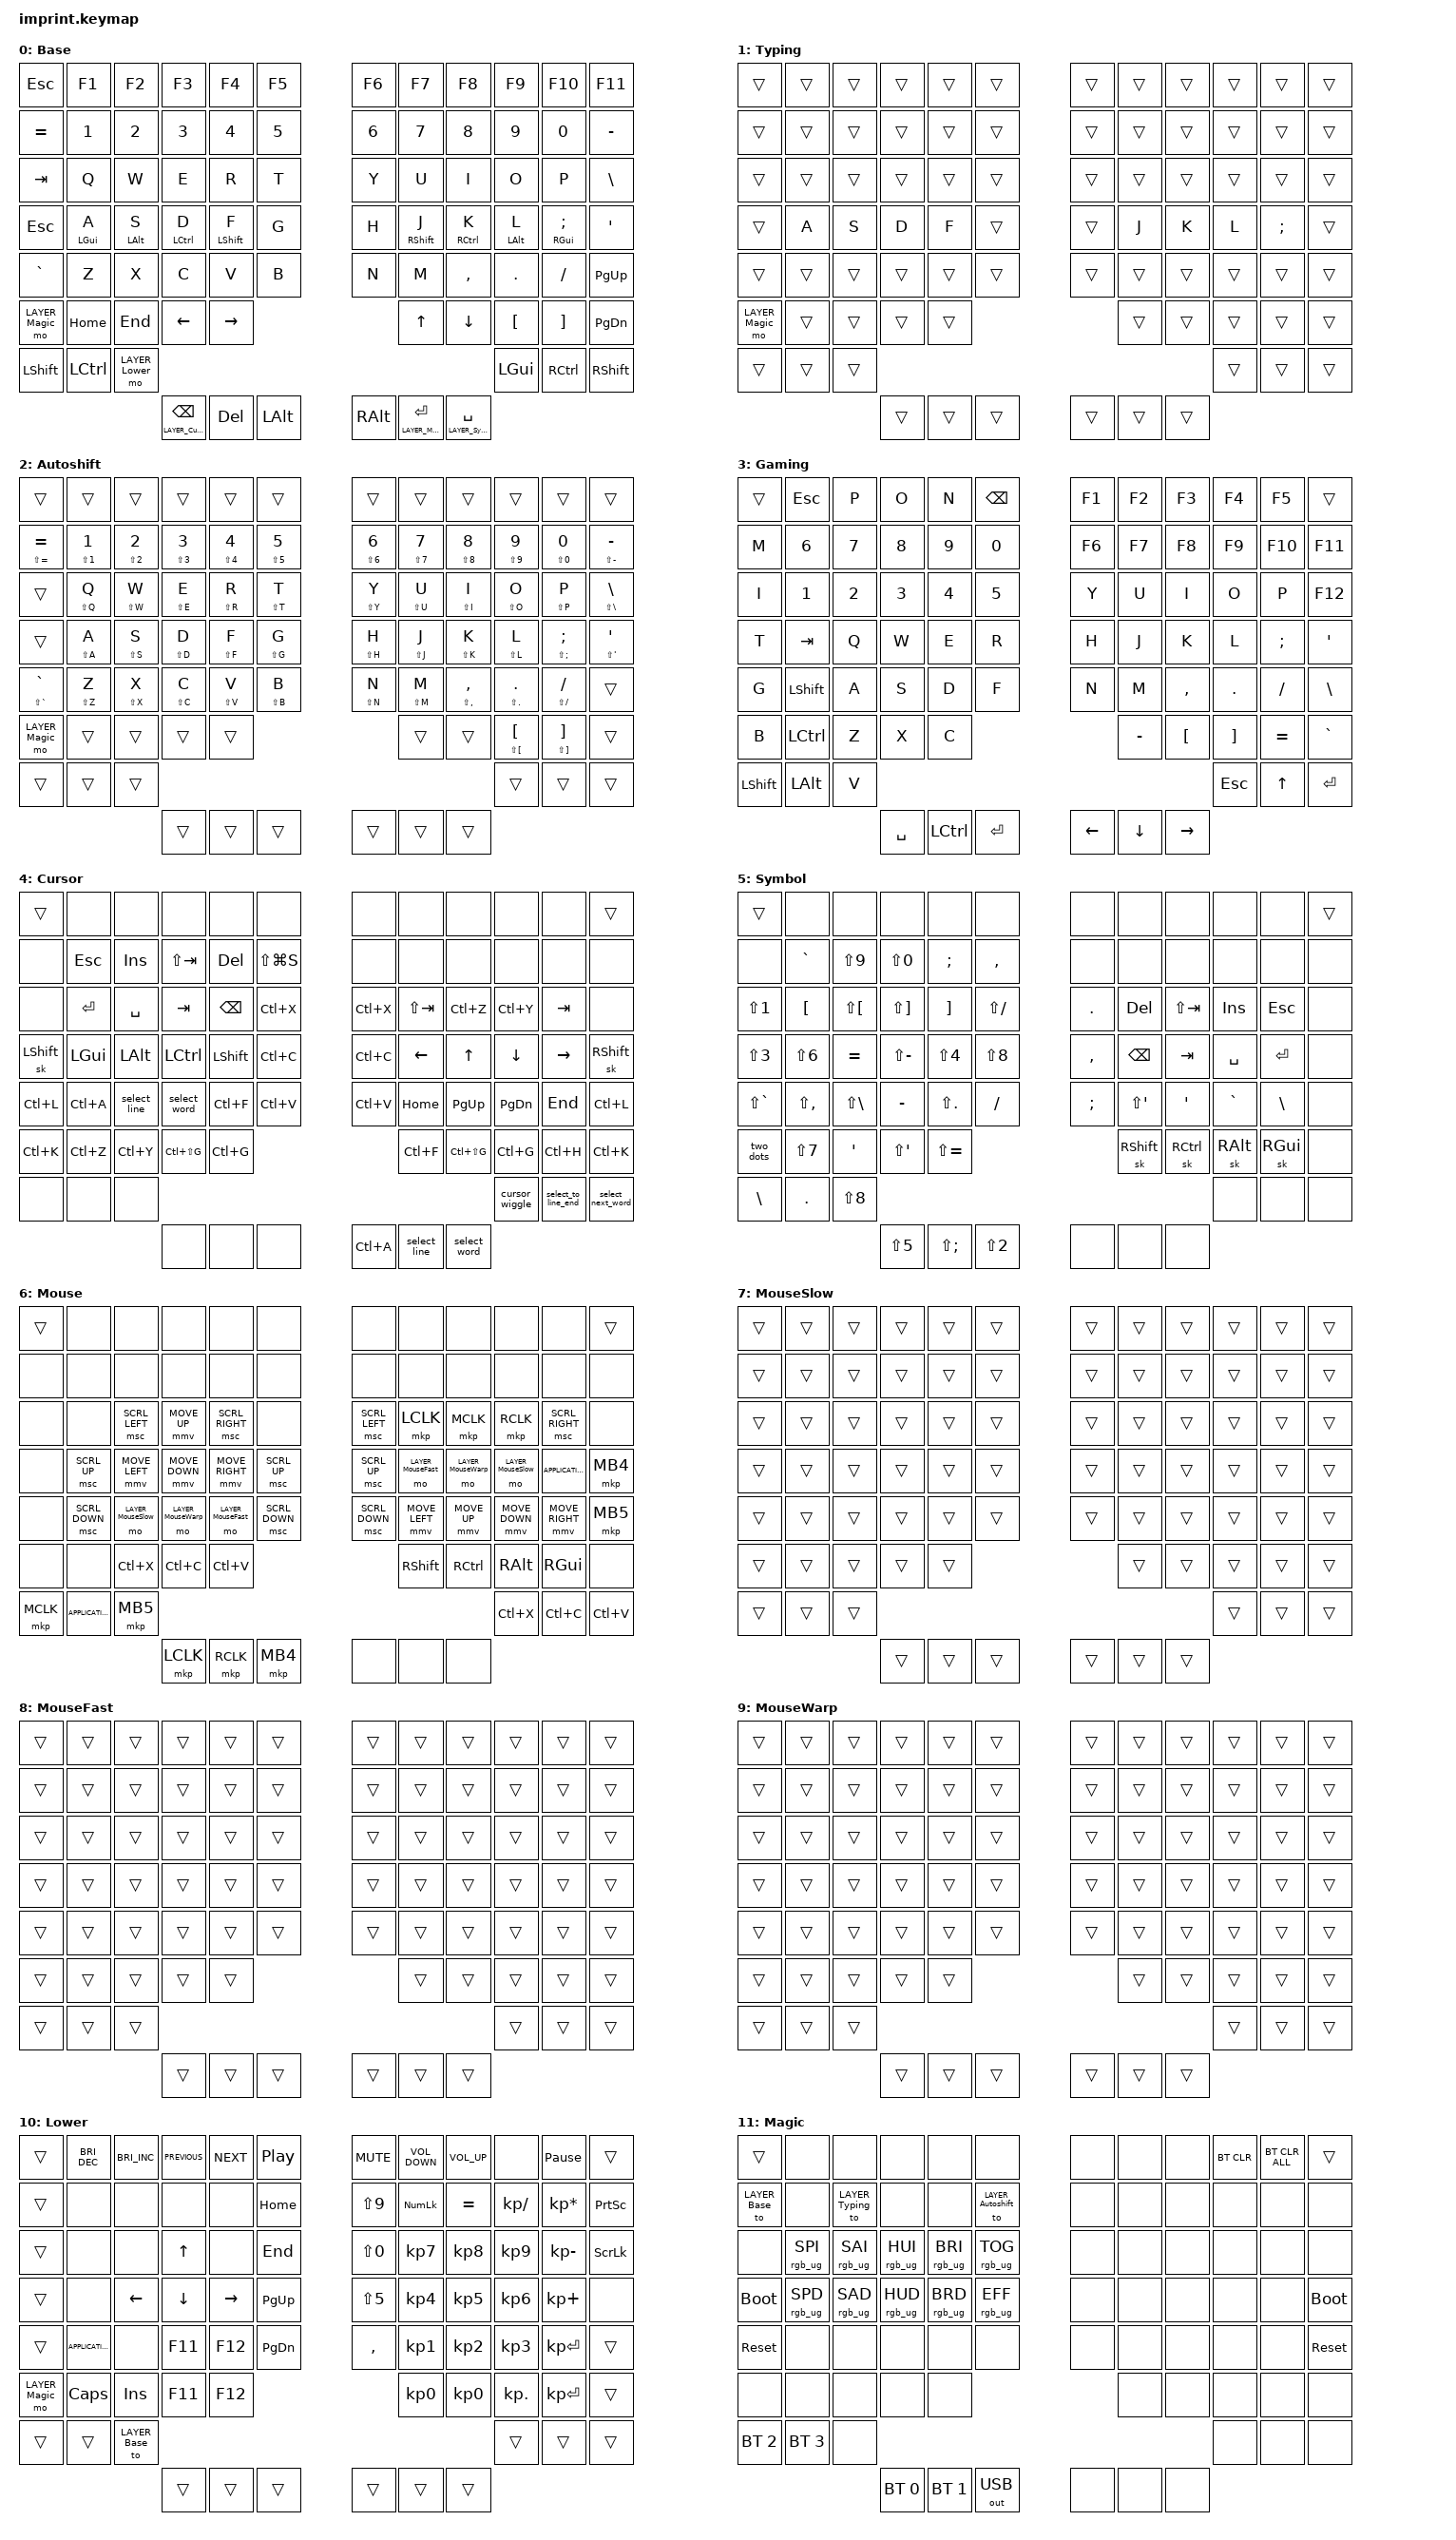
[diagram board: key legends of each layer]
/* Generated by Keyboard Curator. Change the board or the layout there, not this file. */

#include <behaviors.dtsi>
#include <dt-bindings/zmk/keys.h>
#include <dt-bindings/zmk/bt.h>
#include <dt-bindings/zmk/outputs.h>
#include <dt-bindings/zmk/rgb.h>
#include <dt-bindings/zmk/ext_power.h>
#include <dt-bindings/zmk/pointing.h>
#include <input/processors.dtsi>
#include <dt-bindings/zmk/input_transform.h>

#define LAYER_Base 0
#define LAYER_Typing 1
#define LAYER_Autoshift 2
#define LAYER_Gaming 3
#define LAYER_Cursor 4
#define LAYER_Symbol 5
#define LAYER_Mouse 6
#define LAYER_MouseSlow 7
#define LAYER_MouseFast 8
#define LAYER_MouseWarp 9
#define LAYER_Lower 10
#define LAYER_Magic 11

/ {
    chosen {
        zmk,physical-layout = &physical_layout_imprint_function_row_full_bottom_row;
    };

    underglow-layer {
        compatible = "zmk,underglow-layer";

        lighting_0_Base {
            layer-id = <LAYER_Base>;
            fade-delay = <15>;
            bindings = <
                &ug 0x000000  &ug 0x000000  &ug 0x000000  &ug_cl 0x000000 0xFF0000  &ug_nl 0x000000 0xFF0000  &ug_sl 0x000000 0xFF0000                                                          &ug 0x000000  &ug 0x000000  &ug 0x000000  &ug 0x000000  &ug 0x000000  &ug 0x000000
                &ug 0x000000  &ug 0x000000  &ug 0x000000  &ug 0x000000              &ug 0x000000              &ug 0x000000                                                                      &ug 0x000000  &ug 0x000000  &ug 0x000000  &ug 0x000000  &ug 0x000000  &ug 0x000000
                &ug 0x000000  &ug 0x000000  &ug 0x000000  &ug 0x000000              &ug 0x000000              &ug 0x000000                                                                      &ug 0x000000  &ug 0x000000  &ug 0x000000  &ug 0x000000  &ug 0x000000  &ug 0x000000
                &ug 0x000000  &ug 0xFF00FF  &ug 0x00FFFF  &ug 0x80FF00              &ug 0xFFFF00              &ug 0x000000                                                                      &ug 0x000000  &ug 0xFFFF00  &ug 0x80FF00  &ug 0x00FFFF  &ug 0xFF00FF  &ug 0x000000
                &ug 0x000000  &ug 0x000000  &ug 0x000000  &ug 0x000000              &ug 0x000000              &ug 0x000000                                                                      &ug 0x000000  &ug 0x000000  &ug 0x000000  &ug 0x000000  &ug 0x000000  &ug 0x000000
                &ug 0x000000  &ug 0x000000  &ug 0x000000  &ug 0x000000              &ug 0x000000                                                                                                              &ug 0x000000  &ug 0x000000  &ug 0x000000  &ug 0x000000  &ug 0x000000
                                                                                                                                        &ug 0x000000  &ug 0x000000  &ug 0x000000  &ug 0x000000  &ug 0x000000  &ug 0x000000
                                                                                                                                        &ug 0x000000  &ug 0x000000  &ug 0x000000  &ug 0x000000  &ug 0x000000  &ug 0x000000
            >;
        };

        lighting_10_Lower {
            layer-id = <LAYER_Lower>;
            fade-delay = <15>;
            bindings = <
                &ug 0x000000  &ug 0xFF00FF  &ug 0xFF00FF  &ug 0x0000FF  &ug 0x0000FF  &ug 0x0000FF                                                          &ug 0x0000FF  &ug 0x0000FF  &ug 0x0000FF  &ug 0x000000  &ug 0xFF8000  &ug 0x000000
                &ug 0x000000  &ug 0x000000  &ug 0x000000  &ug 0x000000  &ug 0x000000  &ug 0x00FF00                                                          &ug 0xFFFFFF  &ug 0xFF8000  &ug 0xFFFFFF  &ug 0xFFFFFF  &ug 0xFFFFFF  &ug 0xFF8000
                &ug 0x000000  &ug 0x000000  &ug 0x000000  &ug 0x00FF00  &ug 0x000000  &ug 0x00FF00                                                          &ug 0xFFFFFF  &ug 0xFFFFFF  &ug 0xFFFFFF  &ug 0xFFFFFF  &ug 0xFFFFFF  &ug 0xFF8000
                &ug 0x000000  &ug 0x000000  &ug 0x00FF00  &ug 0x00FF00  &ug 0x00FF00  &ug 0x00FF00                                                          &ug 0xFFFFFF  &ug 0xFFFFFF  &ug 0xFFFFFF  &ug 0xFFFFFF  &ug 0xFFFFFF  &ug 0x000000
                &ug 0x000000  &ug 0xFF8000  &ug 0x000000  &ug 0xFFFFFF  &ug 0xFFFFFF  &ug 0x00FF00                                                          &ug 0xFFFFFF  &ug 0xFFFFFF  &ug 0xFFFFFF  &ug 0xFFFFFF  &ug 0xFFFFFF  &ug 0x000000
                &ug 0x000000  &ug 0xFF8000  &ug 0xFF8000  &ug 0xFFFFFF  &ug 0xFFFFFF                                                                                      &ug 0xFFFFFF  &ug 0xFFFFFF  &ug 0xFFFFFF  &ug 0xFFFFFF  &ug 0x000000
                                                                                                    &ug 0x000000  &ug 0x000000  &ug 0x000000  &ug 0x000000  &ug 0x000000  &ug 0x000000
                                                                                                    &ug 0x000000  &ug 0x000000  &ug 0x000000  &ug 0x000000  &ug 0x000000  &ug 0x000000
            >;
        };

        lighting_2_Autoshift {
            layer-id = <LAYER_Autoshift>;
            fade-delay = <5>;
            bindings = <
                &ug 0x000000  &ug 0x000000  &ug 0x000000  &ug 0x000000  &ug 0x000000  &ug 0x000000                                                          &ug 0x000000  &ug 0x000000  &ug 0x000000  &ug 0x000000  &ug 0x000000  &ug 0x000000
                &ug 0xFFFF00  &ug 0xFFFF00  &ug 0xFFFF00  &ug 0xFFFF00  &ug 0xFFFF00  &ug 0xFFFF00                                                          &ug 0xFFFF00  &ug 0xFFFF00  &ug 0xFFFF00  &ug 0xFFFF00  &ug 0xFFFF00  &ug 0xFFFF00
                &ug 0x000000  &ug 0xFFFF00  &ug 0xFFFF00  &ug 0xFFFF00  &ug 0xFFFF00  &ug 0xFFFF00                                                          &ug 0xFFFF00  &ug 0xFFFF00  &ug 0xFFFF00  &ug 0xFFFF00  &ug 0xFFFF00  &ug 0xFFFF00
                &ug 0x000000  &ug 0xFFFF00  &ug 0xFFFF00  &ug 0xFFFF00  &ug 0xFFFF00  &ug 0xFFFF00                                                          &ug 0xFFFF00  &ug 0xFFFF00  &ug 0xFFFF00  &ug 0xFFFF00  &ug 0xFFFF00  &ug 0x000000
                &ug 0xFFFF00  &ug 0xFFFF00  &ug 0xFFFF00  &ug 0xFFFF00  &ug 0xFFFF00  &ug 0xFFFF00                                                          &ug 0xFFFF00  &ug 0xFFFF00  &ug 0xFFFF00  &ug 0xFFFF00  &ug 0xFFFF00  &ug 0x000000
                &ug 0x000000  &ug 0x000000  &ug 0x000000  &ug 0x000000  &ug 0x000000                                                                                      &ug 0xFFFF00  &ug 0xFFFF00  &ug 0x000000  &ug 0x000000  &ug 0x000000
                                                                                                    &ug 0xFFFF00  &ug 0x00FF00  &ug 0x000000  &ug 0xFF00FF  &ug 0x00FF00  &ug 0xFFFF00
                                                                                                    &ug 0x000000  &ug 0x000000  &ug 0x00FFFF  &ug 0x00FFFF  &ug 0x000000  &ug 0x000000
            >;
        };

        lighting_4_Cursor {
            layer-id = <LAYER_Cursor>;
            fade-delay = <5>;
            bindings = <
                &ug 0x000000  &ug 0x000000  &ug 0x000000  &ug 0x000000  &ug 0x000000  &ug 0x000000                                                          &ug 0x000000  &ug 0x000000  &ug 0x000000  &ug 0x000000  &ug 0x000000  &ug 0x000000
                &ug 0x000000  &ug 0xFF8000  &ug 0xFF8000  &ug 0xFF8000  &ug 0xFF8000  &ug 0x000000                                                          &ug 0x000000  &ug 0x000000  &ug 0x000000  &ug 0x000000  &ug 0x000000  &ug 0x000000
                &ug 0x000000  &ug 0xFF8000  &ug 0xFF8000  &ug 0xFF8000  &ug 0xFF8000  &ug 0xFFFF00                                                          &ug 0xFFFF00  &ug 0xFF8000  &ug 0xFF80BF  &ug 0xFF80BF  &ug 0xFF8000  &ug 0x000000
                &ug 0xFFFFFF  &ug 0xFFFFFF  &ug 0xFFFFFF  &ug 0xFFFFFF  &ug 0xFFFFFF  &ug 0xFFFF00                                                          &ug 0xFFFF00  &ug 0x00FF00  &ug 0x00FF00  &ug 0x00FF00  &ug 0x00FF00  &ug 0xFFFFFF
                &ug 0xFF00FF  &ug 0x00FFFF  &ug 0x00FFFF  &ug 0x00FFFF  &ug 0xFF00FF  &ug 0xFFFF00                                                          &ug 0xFFFF00  &ug 0x00FF00  &ug 0x00FF00  &ug 0x00FF00  &ug 0x00FF00  &ug 0xFF00FF
                &ug 0x000000  &ug 0x000000  &ug 0x000000  &ug 0xFF00FF  &ug 0xFF00FF                                                                                      &ug 0xFF00FF  &ug 0xFF00FF  &ug 0xFF00FF  &ug 0xFF00FF  &ug 0x000000
                                                                                                    &ug 0x000000  &ug 0x000000  &ug 0x000000  &ug 0x00FFFF  &ug 0x00FFFF  &ug 0x00FFFF
                                                                                                    &ug 0x000000  &ug 0x00FF68  &ug 0x000000  &ug 0x00FFFF  &ug 0x00FFFF  &ug 0x00FFFF
            >;
        };

        lighting_5_Symbol {
            layer-id = <LAYER_Symbol>;
            fade-delay = <5>;
            bindings = <
                &ug 0x000000  &ug 0x000000  &ug 0x000000  &ug 0x000000  &ug 0x000000  &ug 0x000000                                                          &ug 0x000000  &ug 0x000000  &ug 0x000000  &ug 0x000000  &ug 0x000000  &ug 0x000000
                &ug 0xFF00FF  &ug 0x99F5FF  &ug 0x99F5FF  &ug 0x99F5FF  &ug 0xFFFF00  &ug 0xFFFF00                                                          &ug 0x000000  &ug 0x000000  &ug 0x000000  &ug 0x000000  &ug 0x000000  &ug 0x000000
                &ug 0x99F5FF  &ug 0xFF00FF  &ug 0x99F5FF  &ug 0x99F5FF  &ug 0xFFFF00  &ug 0xFFFF00                                                          &ug 0xFF00FF  &ug 0xFFFFFF  &ug 0xFFFFFF  &ug 0xFFFFFF  &ug 0xFFFFFF  &ug 0x000000
                &ug 0xFFFF00  &ug 0xFFFF00  &ug 0x80FF00  &ug 0xFF8000  &ug 0xFFFF00  &ug 0xFFFF00                                                          &ug 0xFF00FF  &ug 0xFF8000  &ug 0xFF8000  &ug 0xFF8000  &ug 0xFF8000  &ug 0x000000
                &ug 0xFF00FF  &ug 0x80FF00  &ug 0x80FF00  &ug 0x80FF00  &ug 0x80FF00  &ug 0xFFFF00                                                          &ug 0xFF00FF  &ug 0xFF8000  &ug 0xFF8000  &ug 0xFF8000  &ug 0xFF8000  &ug 0x000000
                &ug 0xFFFF00  &ug 0xFF8000  &ug 0xFF00FF  &ug 0xFF00FF  &ug 0xFF8000                                                                                      &ug 0x000000  &ug 0x000000  &ug 0x000000  &ug 0x000000  &ug 0x000000
                                                                                                    &ug 0xFF00FF  &ug 0xFFFF00  &ug 0xFFFF00  &ug 0x000000  &ug 0x000000  &ug 0x000000
                                                                                                    &ug 0xFFFF00  &ug 0xFFFF00  &ug 0xFFFF00  &ug 0x000000  &ug 0x00FF68  &ug 0x000000
            >;
        };

        lighting_6_Mouse {
            layer-id = <LAYER_Mouse>;
            fade-delay = <5>;
            bindings = <
                &ug 0x000000  &ug 0x000000  &ug 0x000000  &ug 0x000000  &ug 0x000000  &ug 0x000000                                                          &ug 0x000000  &ug 0x000000  &ug 0x000000  &ug 0x000000  &ug 0x000000  &ug 0x000000
                &ug 0x000000  &ug 0x000000  &ug 0x000000  &ug 0x000000  &ug 0x000000  &ug 0x000000                                                          &ug 0x000000  &ug 0x000000  &ug 0x000000  &ug 0x000000  &ug 0x000000  &ug 0x000000
                &ug 0x000000  &ug 0x000000  &ug 0x6B1FCE  &ug 0x99F5FF  &ug 0x6B1FCE  &ug 0x000000                                                          &ug 0x000000  &ug 0xFFFFFF  &ug 0xFFFFFF  &ug 0xFFFFFF  &ug 0xFFFFFF  &ug 0x000000
                &ug 0x000000  &ug 0x008080  &ug 0x99F5FF  &ug 0x99F5FF  &ug 0x99F5FF  &ug 0x000000                                                          &ug 0x000000  &ug 0xFFD900  &ug 0x80FF00  &ug 0xFF7C4D  &ug 0xFFFF00  &ug 0xFF80BF
                &ug 0x000000  &ug 0x008080  &ug 0xFF7C4D  &ug 0x80FF00  &ug 0xFFD900  &ug 0x000000                                                          &ug 0x000000  &ug 0x6B1FCE  &ug 0x99F5FF  &ug 0x6B1FCE  &ug 0xFF8000  &ug 0xFF80BF
                &ug 0x000000  &ug 0x000000  &ug 0x000000  &ug 0x000000  &ug 0x000000                                                                                      &ug 0x99F5FF  &ug 0x99F5FF  &ug 0x99F5FF  &ug 0xFF00FF  &ug 0x000000
                                                                                                    &ug 0xFF00FF  &ug 0x000000  &ug 0xFF80BF  &ug 0x000000  &ug 0x000000  &ug 0x000000
                                                                                                    &ug 0xFFFF00  &ug 0xFF8000  &ug 0xFF80BF  &ug 0x000000  &ug 0x00FF68  &ug 0x000000
            >;
        };

        lighting_8_MouseFast {
            layer-id = <LAYER_MouseFast>;
            fade-delay = <5>;
            bindings = <
                &ug 0x000000  &ug 0x000000  &ug 0x000000  &ug 0x000000  &ug 0x000000  &ug 0x000000                                                          &ug 0x000000  &ug 0x000000  &ug 0x000000  &ug 0x000000  &ug 0x000000  &ug 0x000000
                &ug 0x000000  &ug 0x000000  &ug 0x000000  &ug 0x000000  &ug 0x000000  &ug 0x000000                                                          &ug 0x000000  &ug 0xFFFF00  &ug 0x00FF00  &ug 0x00FFFF  &ug 0xFF00FF  &ug 0x000000
                &ug 0x000000  &ug 0x000000  &ug 0xFFD900  &ug 0xFFD900  &ug 0xFFD900  &ug 0x000000                                                          &ug 0x000000  &ug 0xFFD900  &ug 0xFFD900  &ug 0xFFD900  &ug 0xFFD900  &ug 0x000000
                &ug 0x000000  &ug 0xFFD900  &ug 0xFFD900  &ug 0xFFD900  &ug 0xFFD900  &ug 0x000000                                                          &ug 0x000000  &ug 0xFFD900  &ug 0x80FF00  &ug 0xFF7C4D  &ug 0x000000  &ug 0x000000
                &ug 0x000000  &ug 0xFFD900  &ug 0xFF7C4D  &ug 0x80FF00  &ug 0xFFD900  &ug 0x000000                                                          &ug 0x000000  &ug 0xFFD900  &ug 0xFFD900  &ug 0xFFD900  &ug 0xFFD900  &ug 0x000000
                &ug 0x000000  &ug 0x000000  &ug 0x000000  &ug 0x000000  &ug 0x000000                                                                                      &ug 0xFFFF00  &ug 0xFF8000  &ug 0xFF00FF  &ug 0xFF80BF  &ug 0xFF80BF
                                                                                                    &ug 0xFF00FF  &ug 0x000000  &ug 0xFF80BF  &ug 0x000000  &ug 0x000000  &ug 0x000000
                                                                                                    &ug 0xFFFF00  &ug 0xFF8000  &ug 0xFF80BF  &ug 0x000000  &ug 0x00FF68  &ug 0x000000
            >;
        };

        lighting_9_MouseWarp {
            layer-id = <LAYER_MouseWarp>;
            fade-delay = <5>;
            bindings = <
                &ug 0x000000  &ug 0x000000  &ug 0x000000  &ug 0x000000  &ug 0x000000  &ug 0x000000                                                          &ug 0x000000  &ug 0x000000  &ug 0x000000  &ug 0x000000  &ug 0x000000  &ug 0x000000
                &ug 0x000000  &ug 0x000000  &ug 0x000000  &ug 0x000000  &ug 0x000000  &ug 0x000000                                                          &ug 0x000000  &ug 0xFFFF00  &ug 0x00FF00  &ug 0x00FFFF  &ug 0xFF00FF  &ug 0x000000
                &ug 0x000000  &ug 0x000000  &ug 0x80FF00  &ug 0x80FF00  &ug 0x80FF00  &ug 0x000000                                                          &ug 0x000000  &ug 0x80FF00  &ug 0x80FF00  &ug 0x80FF00  &ug 0x80FF00  &ug 0x000000
                &ug 0x000000  &ug 0x80FF00  &ug 0x80FF00  &ug 0x80FF00  &ug 0x80FF00  &ug 0x000000                                                          &ug 0x000000  &ug 0xFFD900  &ug 0x80FF00  &ug 0xFF7C4D  &ug 0x000000  &ug 0x000000
                &ug 0x000000  &ug 0x80FF00  &ug 0xFF7C4D  &ug 0x80FF00  &ug 0xFFD900  &ug 0x000000                                                          &ug 0x000000  &ug 0x80FF00  &ug 0x80FF00  &ug 0x80FF00  &ug 0x80FF00  &ug 0x000000
                &ug 0x000000  &ug 0x000000  &ug 0x000000  &ug 0x000000  &ug 0x000000                                                                                      &ug 0xFFFF00  &ug 0xFF8000  &ug 0xFF00FF  &ug 0xFF80BF  &ug 0xFF80BF
                                                                                                    &ug 0xFF00FF  &ug 0x000000  &ug 0xFF80BF  &ug 0x000000  &ug 0x000000  &ug 0x000000
                                                                                                    &ug 0xFFFF00  &ug 0xFF8000  &ug 0xFF80BF  &ug 0x000000  &ug 0x00FF68  &ug 0x000000
            >;
        };

        lighting_7_MouseSlow {
            layer-id = <LAYER_MouseSlow>;
            fade-delay = <5>;
            bindings = <
                &ug 0x000000  &ug 0x000000  &ug 0x000000  &ug 0x000000  &ug 0x000000  &ug 0x000000                                                          &ug 0x000000  &ug 0x000000  &ug 0x000000  &ug 0x000000  &ug 0x000000  &ug 0x000000
                &ug 0x000000  &ug 0x000000  &ug 0x000000  &ug 0x000000  &ug 0x000000  &ug 0x000000                                                          &ug 0x000000  &ug 0xFFFF00  &ug 0x00FF00  &ug 0x00FFFF  &ug 0xFF00FF  &ug 0x000000
                &ug 0x000000  &ug 0x000000  &ug 0xFF7C4D  &ug 0xFF7C4D  &ug 0xFF7C4D  &ug 0x000000                                                          &ug 0x000000  &ug 0xFF7C4D  &ug 0xFF7C4D  &ug 0xFF7C4D  &ug 0xFF7C4D  &ug 0x000000
                &ug 0x000000  &ug 0xFF7C4D  &ug 0xFF7C4D  &ug 0xFF7C4D  &ug 0xFF7C4D  &ug 0x000000                                                          &ug 0x000000  &ug 0xFFD900  &ug 0x80FF00  &ug 0xFF7C4D  &ug 0x000000  &ug 0x000000
                &ug 0x000000  &ug 0xFF7C4D  &ug 0xFF7C4D  &ug 0x80FF00  &ug 0xFFD900  &ug 0x000000                                                          &ug 0x000000  &ug 0xFF7C4D  &ug 0xFF7C4D  &ug 0xFF7C4D  &ug 0xFF7C4D  &ug 0x000000
                &ug 0x000000  &ug 0x000000  &ug 0x000000  &ug 0x000000  &ug 0x000000                                                                                      &ug 0xFFFF00  &ug 0xFF8000  &ug 0xFF00FF  &ug 0xFF80BF  &ug 0xFF80BF
                                                                                                    &ug 0xFF00FF  &ug 0x000000  &ug 0xFF80BF  &ug 0x000000  &ug 0x000000  &ug 0x000000
                                                                                                    &ug 0xFFFF00  &ug 0xFF8000  &ug 0xFF80BF  &ug 0x000000  &ug 0x00FF68  &ug 0x000000
            >;
        };

        lighting_3_Gaming {
            layer-id = <LAYER_Gaming>;
            fade-delay = <15>;
            bindings = <
                &ug 0x000000  &ug 0xFF8000  &ug 0x000000  &ug 0x000000  &ug 0x000000  &ug 0x000000                                                          &ug 0x000000  &ug 0x000000  &ug 0x000000  &ug 0x000000  &ug 0x000000  &ug 0x000000
                &ug 0x000000  &ug 0x000000  &ug 0x000000  &ug 0x000000  &ug 0x000000  &ug 0x000000                                                          &ug 0x000000  &ug 0x000000  &ug 0x000000  &ug 0x000000  &ug 0x000000  &ug 0x000000
                &ug 0x000000  &ug 0x000000  &ug 0x000000  &ug 0x000000  &ug 0x000000  &ug 0x000000                                                          &ug 0x000000  &ug 0x000000  &ug 0x000000  &ug 0x000000  &ug 0x000000  &ug 0x000000
                &ug 0x000000  &ug 0x000000  &ug 0x000000  &ug 0x99F5FF  &ug 0x000000  &ug 0x000000                                                          &ug 0x000000  &ug 0x000000  &ug 0x000000  &ug 0x000000  &ug 0x000000  &ug 0x000000
                &ug 0x000000  &ug 0xFFFF00  &ug 0x99F5FF  &ug 0x99F5FF  &ug 0x99F5FF  &ug 0x000000                                                          &ug 0x000000  &ug 0x000000  &ug 0x000000  &ug 0x000000  &ug 0x000000  &ug 0x000000
                &ug 0x000000  &ug 0x00FF00  &ug 0x000000  &ug 0x000000  &ug 0x000000                                                                                      &ug 0x000000  &ug 0x000000  &ug 0x000000  &ug 0x000000  &ug 0x000000
                                                                                                    &ug 0xFFFF00  &ug 0x00FFFF  &ug 0xFF0000  &ug 0xFF8000  &ug 0x99F5FF  &ug 0x000000
                                                                                                    &ug 0x000000  &ug 0x00FF00  &ug 0xFF0000  &ug 0x99F5FF  &ug 0x99F5FF  &ug 0x99F5FF
            >;
        };
    };

    behaviors {
        // Template: hrm_pinky (left hand)
        hrm_pinky: hrm_pinky {
            compatible = "zmk,behavior-hold-tap";
            #binding-cells = <2>;
            flavor = "tap-preferred";
            tapping-term-ms = <270>;
            quick-tap-ms = <300>;
            require-prior-idle-ms = <150>;
            hold-trigger-key-positions = <6 7 8 9 10 11 18 19 20 21 22 23 30 31 32 33 34 35 42 43 44 45 46 47 54 55 56 57 58 59 65 66 67 68 69 70 71 72 73 74 75 76 77 78 79 80 81>;
            hold-trigger-on-release;
            bindings = <&kp>, <&kp>;
        };
        // Template: hrm_ring (left hand)
        hrm_ring: hrm_ring {
            compatible = "zmk,behavior-hold-tap";
            #binding-cells = <2>;
            flavor = "tap-preferred";
            tapping-term-ms = <240>;
            quick-tap-ms = <300>;
            require-prior-idle-ms = <100>;
            hold-trigger-key-positions = <6 7 8 9 10 11 18 19 20 21 22 23 30 31 32 33 34 35 42 43 44 45 46 47 54 55 56 57 58 59 65 66 67 68 69 70 71 72 73 74 75 76 77 78 79 80 81>;
            hold-trigger-on-release;
            bindings = <&kp>, <&kp>;
        };
        // Template: hrm_middle (left hand)
        hrm_middle: hrm_middle {
            compatible = "zmk,behavior-hold-tap";
            #binding-cells = <2>;
            flavor = "tap-preferred";
            tapping-term-ms = <210>;
            quick-tap-ms = <300>;
            require-prior-idle-ms = <150>;
            hold-trigger-key-positions = <6 7 8 9 10 11 18 19 20 21 22 23 30 31 32 33 34 35 42 43 44 45 46 47 54 55 56 57 58 59 65 66 67 68 69 70 71 72 73 74 75 76 77 78 79 80 81>;
            hold-trigger-on-release;
            bindings = <&kp>, <&kp>;
        };
        // Template: hrm_index (left hand)
        hrm_index: hrm_index {
            compatible = "zmk,behavior-hold-tap";
            #binding-cells = <2>;
            flavor = "tap-preferred";
            tapping-term-ms = <180>;
            quick-tap-ms = <300>;
            require-prior-idle-ms = <100>;
            hold-trigger-key-positions = <6 7 8 9 10 11 18 19 20 21 22 23 30 31 32 33 34 35 42 43 44 45 46 47 54 55 56 57 58 59 65 66 67 68 69 70 71 72 73 74 75 76 77 78 79 80 81>;
            hold-trigger-on-release;
            bindings = <&kp>, <&kp>;
        };
        // Template: thumb_layer
        thumb_layer: thumb_layer {
            compatible = "zmk,behavior-hold-tap";
            #binding-cells = <2>;
            flavor = "balanced";
            tapping-term-ms = <200>;
            quick-tap-ms = <300>;
            bindings = <&mo>, <&kp>;
        };
        // Template: thumb_space_layer
        thumb_space_layer: thumb_space_layer {
            compatible = "zmk,behavior-hold-tap";
            #binding-cells = <2>;
            flavor = "balanced";
            tapping-term-ms = <200>;
            quick-tap-ms = <150>;
            bindings = <&mo>, <&kp>;
        };
        // Template: autoshift
        autoshift: autoshift {
            compatible = "zmk,behavior-hold-tap";
            #binding-cells = <2>;
            flavor = "tap-preferred";
            tapping-term-ms = <190>;
            bindings = <&kp>, <&kp>;
        };
        // Template: hrm_pinky (right hand)
        hrm_pinky_right: hrm_pinky_right {
            compatible = "zmk,behavior-hold-tap";
            #binding-cells = <2>;
            flavor = "tap-preferred";
            tapping-term-ms = <270>;
            quick-tap-ms = <300>;
            require-prior-idle-ms = <150>;
            hold-trigger-key-positions = <0 1 2 3 4 5 12 13 14 15 16 17 24 25 26 27 28 29 36 37 38 39 40 41 48 49 50 51 52 53 60 61 62 63 64 70 71 72 73 74 75 76 77 78 79 80 81>;
            hold-trigger-on-release;
            bindings = <&kp>, <&kp>;
        };
        // Template: hrm_ring (right hand)
        hrm_ring_right: hrm_ring_right {
            compatible = "zmk,behavior-hold-tap";
            #binding-cells = <2>;
            flavor = "tap-preferred";
            tapping-term-ms = <240>;
            quick-tap-ms = <300>;
            require-prior-idle-ms = <100>;
            hold-trigger-key-positions = <0 1 2 3 4 5 12 13 14 15 16 17 24 25 26 27 28 29 36 37 38 39 40 41 48 49 50 51 52 53 60 61 62 63 64 70 71 72 73 74 75 76 77 78 79 80 81>;
            hold-trigger-on-release;
            bindings = <&kp>, <&kp>;
        };
        // Template: hrm_middle (right hand)
        hrm_middle_right: hrm_middle_right {
            compatible = "zmk,behavior-hold-tap";
            #binding-cells = <2>;
            flavor = "tap-preferred";
            tapping-term-ms = <210>;
            quick-tap-ms = <300>;
            require-prior-idle-ms = <150>;
            hold-trigger-key-positions = <0 1 2 3 4 5 12 13 14 15 16 17 24 25 26 27 28 29 36 37 38 39 40 41 48 49 50 51 52 53 60 61 62 63 64 70 71 72 73 74 75 76 77 78 79 80 81>;
            hold-trigger-on-release;
            bindings = <&kp>, <&kp>;
        };
        // Template: hrm_index (right hand)
        hrm_index_right: hrm_index_right {
            compatible = "zmk,behavior-hold-tap";
            #binding-cells = <2>;
            flavor = "tap-preferred";
            tapping-term-ms = <180>;
            quick-tap-ms = <300>;
            require-prior-idle-ms = <100>;
            hold-trigger-key-positions = <0 1 2 3 4 5 12 13 14 15 16 17 24 25 26 27 28 29 36 37 38 39 40 41 48 49 50 51 52 53 60 61 62 63 64 70 71 72 73 74 75 76 77 78 79 80 81>;
            hold-trigger-on-release;
            bindings = <&kp>, <&kp>;
        };
    };

    macros {
        // Key 75 on Cursor: Macro: Select next word
        select_next_word: select_next_word {
            compatible = "zmk,behavior-macro";
            #binding-cells = <0>;
            bindings
                = <&macro_press &kp LEFT_CONTROL>
                , <&macro_press &kp LEFT_SHIFT>
                , <&macro_tap &kp RIGHT_ARROW>
                , <&macro_release &kp LEFT_SHIFT>
                , <&macro_release &kp LEFT_CONTROL>
                ;
        };
        // Key 74 on Cursor: Macro: Select to line end
        select_to_line_end: select_to_line_end {
            compatible = "zmk,behavior-macro";
            #binding-cells = <0>;
            bindings
                = <&macro_press &kp LEFT_SHIFT>
                , <&macro_tap &kp END>
                , <&macro_release &kp LEFT_SHIFT>
                ;
        };
        // Key 73 on Cursor: Macro: Cursor wiggle
        cursor_wiggle: cursor_wiggle {
            compatible = "zmk,behavior-macro";
            #binding-cells = <0>;
            bindings
                = <&macro_tap &kp DOWN_ARROW>
                , <&macro_tap &kp UP_ARROW>
                , <&macro_tap &kp RIGHT_ARROW>
                , <&macro_tap &kp LEFT_ARROW>
                ;
        };
        // Template: Select word
        select_word: select_word {
            compatible = "zmk,behavior-macro";
            #binding-cells = <0>;
            bindings
                = <&macro_press &kp LEFT_CONTROL>
                , <&macro_tap &kp LEFT_ARROW>
                , <&macro_release &kp LEFT_CONTROL>
                , <&macro_press &kp LEFT_CONTROL>
                , <&macro_press &kp LEFT_SHIFT>
                , <&macro_tap &kp RIGHT_ARROW>
                , <&macro_release &kp LEFT_SHIFT>
                , <&macro_release &kp LEFT_CONTROL>
                ;
        };
        // Template: Select line
        select_line: select_line {
            compatible = "zmk,behavior-macro";
            #binding-cells = <0>;
            bindings
                = <&macro_tap &kp HOME>
                , <&macro_press &kp LEFT_SHIFT>
                , <&macro_tap &kp END>
                , <&macro_release &kp LEFT_SHIFT>
                ;
        };
        // Key 60 on Symbol: Macro: Two dots
        two_dots: two_dots {
            compatible = "zmk,behavior-macro";
            #binding-cells = <0>;
            bindings
                = <&macro_tap &kp PERIOD>
                , <&macro_tap &kp PERIOD>
                ;
        };
    };

    combos {
        compatible = "zmk,combos";
        combo_f11_base_26 {
            key-positions = <9 22>;
            bindings = <&kp F11>;
            layers = <LAYER_Base>;
        };
        combo_f11_autoshift_27 {
            key-positions = <1 22>;
            bindings = <&kp F11>;
            layers = <LAYER_Autoshift>;
        };
        combo_f12_base_28 {
            key-positions = <10 23>;
            bindings = <&kp F12>;
            layers = <LAYER_Base>;
        };
        combo_f12_autoshift_29 {
            key-positions = <1 23>;
            bindings = <&kp F12>;
            layers = <LAYER_Autoshift>;
        };
        combo_toggle_gaming_base_30 {
            key-positions = <53 64>;
            bindings = <&tog LAYER_Gaming>;
            layers = <LAYER_Base>;
        };
        combo_toggle_gaming_gaming_31 {
            key-positions = <53 64>;
            bindings = <&tog LAYER_Gaming>;
            layers = <LAYER_Gaming>;
        };
        combo_caps_lock_right_base_32 {
            key-positions = <74 79>;
            bindings = <&kp CAPSLOCK>;
            layers = <LAYER_Base>;
        };
        combo_caps_lock_right_autoshift_33 {
            key-positions = <1 2>;
            bindings = <&kp CAPSLOCK>;
            layers = <LAYER_Autoshift>;
        };
        combo_caps_lock_left_base_34 {
            key-positions = <78 71>;
            bindings = <&kp CAPSLOCK>;
            layers = <LAYER_Base>;
        };
        combo_caps_lock_left_autoshift_35 {
            key-positions = <1 2>;
            bindings = <&kp CAPSLOCK>;
            layers = <LAYER_Autoshift>;
        };
        combo_caps_word_left_base_36 {
            key-positions = <77 76>;
            bindings = <&caps_word>;
            layers = <LAYER_Base>;
        };
        combo_caps_word_left_autoshift_37 {
            key-positions = <1 2>;
            bindings = <&caps_word>;
            layers = <LAYER_Autoshift>;
        };
        combo_caps_word_right_base_38 {
            key-positions = <80 81>;
            bindings = <&caps_word>;
            layers = <LAYER_Base>;
        };
        combo_caps_word_right_autoshift_39 {
            key-positions = <1 2>;
            bindings = <&caps_word>;
            layers = <LAYER_Autoshift>;
        };
    };

    keymap {
        compatible = "zmk,keymap";

        layer_0_Base {
            display-name = "Base";
            bindings = <
                &kp ESC          &kp F1             &kp F2            &kp F3               &kp F4              &kp F5                                                                                               &kp F6                           &kp F7                                 &kp F8                     &kp F9                  &kp F10                          &kp F11
                &kp EQUAL        &kp NUMBER_1       &kp NUMBER_2      &kp NUMBER_3         &kp NUMBER_4        &kp NUMBER_5                                                                                         &kp NUMBER_6                     &kp NUMBER_7                           &kp NUMBER_8               &kp NUMBER_9            &kp NUMBER_0                     &kp MINUS
                &kp TAB          &kp Q              &kp W             &kp E                &kp R               &kp T                                                                                                &kp Y                            &kp U                                  &kp I                      &kp O                   &kp P                            &kp BACKSLASH
                &kp ESCAPE       &hrm_pinky LGUI A  &hrm_ring LALT S  &hrm_middle LCTRL D  &hrm_index LSHFT F  &kp G                                                                                                &kp H                            &hrm_index_right RSHFT J               &hrm_middle_right RCTRL K  &hrm_ring_right LALT L  &hrm_pinky_right RGUI SEMICOLON  &kp SINGLE_QUOTE
                &kp GRAVE        &kp Z              &kp X             &kp C                &kp V               &kp B                                                                                                &kp N                            &kp M                                  &kp COMMA                  &kp PERIOD              &kp SLASH                        &kp PAGE_UP
                &mo LAYER_Magic  &kp HOME           &kp END           &kp LEFT_ARROW       &kp RIGHT_ARROW                                                                                                                                           &kp UP_ARROW                           &kp DOWN_ARROW             &kp LEFT_BRACKET        &kp RIGHT_BRACKET                &kp PAGE_DOWN
                                                                                                                             &kp LEFT_SHIFT                       &kp LEFT_CONTROL  &mo LAYER_Lower  &kp LEFT_GUI   &kp RIGHT_CONTROL                &kp RIGHT_SHIFT
                                                                                                                             &thumb_layer LAYER_Cursor BACKSPACE  &kp DELETE        &kp LEFT_ALT     &kp RIGHT_ALT  &thumb_layer LAYER_Mouse RETURN  &thumb_space_layer LAYER_Symbol SPACE
            >;
        };

        layer_1_Typing {
            display-name = "Typing";
            bindings = <
                &trans           &trans  &trans  &trans  &trans  &trans                                  &trans  &trans  &trans  &trans  &trans         &trans
                &trans           &trans  &trans  &trans  &trans  &trans                                  &trans  &trans  &trans  &trans  &trans         &trans
                &trans           &trans  &trans  &trans  &trans  &trans                                  &trans  &trans  &trans  &trans  &trans         &trans
                &trans           &kp A   &kp S   &kp D   &kp F   &trans                                  &trans  &kp J   &kp K   &kp L   &kp SEMICOLON  &trans
                &trans           &trans  &trans  &trans  &trans  &trans                                  &trans  &trans  &trans  &trans  &trans         &trans
                &mo LAYER_Magic  &trans  &trans  &trans  &trans                                                  &trans  &trans  &trans  &trans         &trans
                                                                         &trans  &trans  &trans  &trans  &trans  &trans
                                                                         &trans  &trans  &trans  &trans  &trans  &trans
            >;
        };

        layer_2_Autoshift {
            display-name = "Autoshift";
            bindings = <
                &trans                      &trans                            &trans                            &trans                            &trans                            &trans                                                            &trans                            &trans                            &trans                            &trans                                    &trans                                      &trans
                &autoshift LS(EQUAL) EQUAL  &autoshift LS(NUMBER_1) NUMBER_1  &autoshift LS(NUMBER_2) NUMBER_2  &autoshift LS(NUMBER_3) NUMBER_3  &autoshift LS(NUMBER_4) NUMBER_4  &autoshift LS(NUMBER_5) NUMBER_5                                  &autoshift LS(NUMBER_6) NUMBER_6  &autoshift LS(NUMBER_7) NUMBER_7  &autoshift LS(NUMBER_8) NUMBER_8  &autoshift LS(NUMBER_9) NUMBER_9          &autoshift LS(NUMBER_0) NUMBER_0            &autoshift LS(MINUS) MINUS
                &trans                      &autoshift LS(Q) Q                &autoshift LS(W) W                &autoshift LS(E) E                &autoshift LS(R) R                &autoshift LS(T) T                                                &autoshift LS(Y) Y                &autoshift LS(U) U                &autoshift LS(I) I                &autoshift LS(O) O                        &autoshift LS(P) P                          &autoshift LS(BACKSLASH) BACKSLASH
                &trans                      &autoshift LS(A) A                &autoshift LS(S) S                &autoshift LS(D) D                &autoshift LS(F) F                &autoshift LS(G) G                                                &autoshift LS(H) H                &autoshift LS(J) J                &autoshift LS(K) K                &autoshift LS(L) L                        &autoshift LS(SEMICOLON) SEMICOLON          &autoshift LS(SINGLE_QUOTE) SINGLE_QUOTE
                &autoshift LS(GRAVE) GRAVE  &autoshift LS(Z) Z                &autoshift LS(X) X                &autoshift LS(C) C                &autoshift LS(V) V                &autoshift LS(B) B                                                &autoshift LS(N) N                &autoshift LS(M) M                &autoshift LS(COMMA) COMMA        &autoshift LS(PERIOD) PERIOD              &autoshift LS(SLASH) SLASH                  &trans
                &mo LAYER_Magic             &trans                            &trans                            &trans                            &trans                                                                                                                                &trans                            &trans                            &autoshift LS(LEFT_BRACKET) LEFT_BRACKET  &autoshift LS(RIGHT_BRACKET) RIGHT_BRACKET  &trans
                                                                                                                                                                                                                      &trans  &trans  &trans  &trans  &trans                            &trans
                                                                                                                                                                                                                      &trans  &trans  &trans  &trans  &trans                            &trans
            >;
        };

        layer_3_Gaming {
            display-name = "Gaming";
            bindings = <
                &trans  &kp ESCAPE        &kp P         &kp O         &kp N         &kp BACKSPACE                                                                &kp F1          &kp F2           &kp F3            &kp F4             &kp F5         &trans
                &kp M   &kp NUMBER_6      &kp NUMBER_7  &kp NUMBER_8  &kp NUMBER_9  &kp NUMBER_0                                                                 &kp F6          &kp F7           &kp F8            &kp F9             &kp F10        &kp F11
                &kp I   &kp NUMBER_1      &kp NUMBER_2  &kp NUMBER_3  &kp NUMBER_4  &kp NUMBER_5                                                                 &kp Y           &kp U            &kp I             &kp O              &kp P          &kp F12
                &kp T   &kp TAB           &kp Q         &kp W         &kp E         &kp R                                                                        &kp H           &kp J            &kp K             &kp L              &kp SEMICOLON  &kp SINGLE_QUOTE
                &kp G   &kp LEFT_SHIFT    &kp A         &kp S         &kp D         &kp F                                                                        &kp N           &kp M            &kp COMMA         &kp PERIOD         &kp SLASH      &kp BACKSLASH
                &kp B   &kp LEFT_CONTROL  &kp Z         &kp X         &kp C                                                                                                      &kp MINUS        &kp LEFT_BRACKET  &kp RIGHT_BRACKET  &kp EQUAL      &kp GRAVE
                                                                                                   &kp LEFT_SHIFT  &kp LEFT_ALT      &kp V       &kp ESCAPE      &kp UP_ARROW    &kp RETURN
                                                                                                   &kp SPACE       &kp LEFT_CONTROL  &kp RETURN  &kp LEFT_ARROW  &kp DOWN_ARROW  &kp RIGHT_ARROW
            >;
        };

        layer_4_Cursor {
            display-name = "Cursor";
            bindings = <
                &trans     &none         &none         &none             &none           &none                                               &none                &none              &none          &none           &none            &trans
                &none      &kp ESCAPE    &kp INSERT    &kp LS(TAB)       &kp DELETE      &kp LS(LG(S))                                       &none                &none              &none          &none           &none            &none
                &none      &kp RETURN    &kp SPACE     &kp TAB           &kp BACKSPACE   &kp LC(X)                                           &kp LC(X)            &kp LS(TAB)        &kp LC(Z)      &kp LC(Y)       &kp TAB          &none
                &sk LSHFT  &kp LEFT_GUI  &kp LEFT_ALT  &kp LEFT_CONTROL  &kp LEFT_SHIFT  &kp LC(C)                                           &kp LC(C)            &kp LEFT_ARROW     &kp UP_ARROW   &kp DOWN_ARROW  &kp RIGHT_ARROW  &sk RSHFT
                &kp LC(L)  &kp LC(A)     &select_line  &select_word      &kp LC(F)       &kp LC(V)                                           &kp LC(V)            &kp HOME           &kp PAGE_UP    &kp PAGE_DOWN   &kp END          &kp LC(L)
                &kp LC(K)  &kp LC(Z)     &kp LC(Y)     &kp LC(LS(G))     &kp LC(G)                                                                                &kp LC(F)          &kp LC(LS(G))  &kp LC(G)       &kp LC(H)        &kp LC(K)
                                                                                                        &none  &none  &none  &cursor_wiggle  &select_to_line_end  &select_next_word
                                                                                                        &none  &none  &none  &kp LC(A)       &select_line         &select_word
            >;
        };

        layer_5_Symbol {
            display-name = "Symbol";
            bindings = <
                &trans            &none             &none                 &none                  &none              &none                                                                           &none          &none                 &none             &none       &none          &trans
                &none             &kp GRAVE         &kp LS(NUMBER_9)      &kp LS(NUMBER_0)       &kp SEMICOLON      &kp COMMA                                                                       &none          &none                 &none             &none       &none          &none
                &kp LS(NUMBER_1)  &kp LEFT_BRACKET  &kp LS(LEFT_BRACKET)  &kp LS(RIGHT_BRACKET)  &kp RIGHT_BRACKET  &kp LS(SLASH)                                                                   &kp PERIOD     &kp DELETE            &kp LS(TAB)       &kp INSERT  &kp ESCAPE     &none
                &kp LS(NUMBER_3)  &kp LS(NUMBER_6)  &kp EQUAL             &kp LS(MINUS)          &kp LS(NUMBER_4)   &kp LS(NUMBER_8)                                                                &kp COMMA      &kp BACKSPACE         &kp TAB           &kp SPACE   &kp RETURN     &none
                &kp LS(GRAVE)     &kp LS(COMMA)     &kp LS(BACKSLASH)     &kp MINUS              &kp LS(PERIOD)     &kp SLASH                                                                       &kp SEMICOLON  &kp LS(SINGLE_QUOTE)  &kp SINGLE_QUOTE  &kp GRAVE   &kp BACKSLASH  &none
                &two_dots         &kp LS(NUMBER_7)  &kp SINGLE_QUOTE      &kp LS(SINGLE_QUOTE)   &kp LS(EQUAL)                                                                                                     &sk RSHFT             &sk RCTRL         &sk RALT    &sk RGUI       &none
                                                                                                                                      &kp BACKSLASH     &kp PERIOD         &kp LS(NUMBER_8)  &none  &none          &none
                                                                                                                                      &kp LS(NUMBER_5)  &kp LS(SEMICOLON)  &kp LS(NUMBER_2)  &none  &none          &none
            >;
        };

        layer_6_Mouse {
            display-name = "Mouse";
            bindings = <
                &trans  &none           &none                &none                &none                &none                                                              &none           &none                &none                &none                &none              &trans
                &none   &none           &none                &none                &none                &none                                                              &none           &none                &none                &none                &none              &none
                &none   &none           &msc SCRL_LEFT       &mmv MOVE_UP         &msc SCRL_RIGHT      &none                                                              &msc SCRL_LEFT  &mkp LCLK            &mkp MCLK            &mkp RCLK            &msc SCRL_RIGHT    &none
                &none   &msc SCRL_UP    &mmv MOVE_LEFT       &mmv MOVE_DOWN       &mmv MOVE_RIGHT      &msc SCRL_UP                                                       &msc SCRL_UP    &mo LAYER_MouseFast  &mo LAYER_MouseWarp  &mo LAYER_MouseSlow  &kp K_APPLICATION  &mkp MB4
                &none   &msc SCRL_DOWN  &mo LAYER_MouseSlow  &mo LAYER_MouseWarp  &mo LAYER_MouseFast  &msc SCRL_DOWN                                                     &msc SCRL_DOWN  &mmv MOVE_LEFT       &mmv MOVE_UP         &mmv MOVE_DOWN       &mmv MOVE_RIGHT    &mkp MB5
                &none   &none           &kp LC(X)            &kp LC(C)            &kp LC(V)                                                                                               &kp RIGHT_SHIFT      &kp RIGHT_CONTROL    &kp RIGHT_ALT        &kp RIGHT_GUI      &none
                                                                                                                       &mkp MCLK  &kp K_APPLICATION  &mkp MB5  &kp LC(X)  &kp LC(C)       &kp LC(V)
                                                                                                                       &mkp LCLK  &mkp RCLK          &mkp MB4  &none      &none           &none
            >;
        };

        layer_7_MouseSlow {
            display-name = "MouseSlow";
            bindings = <
                &trans  &trans  &trans  &trans  &trans  &trans                                  &trans  &trans  &trans  &trans  &trans  &trans
                &trans  &trans  &trans  &trans  &trans  &trans                                  &trans  &trans  &trans  &trans  &trans  &trans
                &trans  &trans  &trans  &trans  &trans  &trans                                  &trans  &trans  &trans  &trans  &trans  &trans
                &trans  &trans  &trans  &trans  &trans  &trans                                  &trans  &trans  &trans  &trans  &trans  &trans
                &trans  &trans  &trans  &trans  &trans  &trans                                  &trans  &trans  &trans  &trans  &trans  &trans
                &trans  &trans  &trans  &trans  &trans                                                  &trans  &trans  &trans  &trans  &trans
                                                                &trans  &trans  &trans  &trans  &trans  &trans
                                                                &trans  &trans  &trans  &trans  &trans  &trans
            >;
        };

        layer_8_MouseFast {
            display-name = "MouseFast";
            bindings = <
                &trans  &trans  &trans  &trans  &trans  &trans                                  &trans  &trans  &trans  &trans  &trans  &trans
                &trans  &trans  &trans  &trans  &trans  &trans                                  &trans  &trans  &trans  &trans  &trans  &trans
                &trans  &trans  &trans  &trans  &trans  &trans                                  &trans  &trans  &trans  &trans  &trans  &trans
                &trans  &trans  &trans  &trans  &trans  &trans                                  &trans  &trans  &trans  &trans  &trans  &trans
                &trans  &trans  &trans  &trans  &trans  &trans                                  &trans  &trans  &trans  &trans  &trans  &trans
                &trans  &trans  &trans  &trans  &trans                                                  &trans  &trans  &trans  &trans  &trans
                                                                &trans  &trans  &trans  &trans  &trans  &trans
                                                                &trans  &trans  &trans  &trans  &trans  &trans
            >;
        };

        layer_9_MouseWarp {
            display-name = "MouseWarp";
            bindings = <
                &trans  &trans  &trans  &trans  &trans  &trans                                  &trans  &trans  &trans  &trans  &trans  &trans
                &trans  &trans  &trans  &trans  &trans  &trans                                  &trans  &trans  &trans  &trans  &trans  &trans
                &trans  &trans  &trans  &trans  &trans  &trans                                  &trans  &trans  &trans  &trans  &trans  &trans
                &trans  &trans  &trans  &trans  &trans  &trans                                  &trans  &trans  &trans  &trans  &trans  &trans
                &trans  &trans  &trans  &trans  &trans  &trans                                  &trans  &trans  &trans  &trans  &trans  &trans
                &trans  &trans  &trans  &trans  &trans                                                  &trans  &trans  &trans  &trans  &trans
                                                                &trans  &trans  &trans  &trans  &trans  &trans
                                                                &trans  &trans  &trans  &trans  &trans  &trans
            >;
        };

        layer_10_Lower {
            display-name = "Lower";
            bindings = <
                &trans           &kp C_BRIGHTNESS_DEC  &kp C_BRIGHTNESS_INC  &kp C_PREVIOUS  &kp C_NEXT       &kp C_PLAY_PAUSE                                          &kp C_MUTE        &kp C_VOLUME_DOWN  &kp C_VOLUME_UP  &none            &kp PAUSE_BREAK  &trans
                &trans           &none                 &none                 &none           &none            &kp HOME                                                  &kp LS(NUMBER_9)  &kp KP_NUMLOCK     &kp EQUAL        &kp KP_DIVIDE    &kp KP_MULTIPLY  &kp PRINTSCREEN
                &trans           &none                 &none                 &kp UP_ARROW    &none            &kp END                                                   &kp LS(NUMBER_0)  &kp KP_NUMBER_7    &kp KP_NUMBER_8  &kp KP_NUMBER_9  &kp KP_MINUS     &kp SCROLLLOCK
                &trans           &none                 &kp LEFT_ARROW        &kp DOWN_ARROW  &kp RIGHT_ARROW  &kp PAGE_UP                                               &kp LS(NUMBER_5)  &kp KP_NUMBER_4    &kp KP_NUMBER_5  &kp KP_NUMBER_6  &kp KP_PLUS      &none
                &trans           &kp K_APPLICATION     &none                 &kp F11         &kp F12          &kp PAGE_DOWN                                             &kp COMMA         &kp KP_NUMBER_1    &kp KP_NUMBER_2  &kp KP_NUMBER_3  &kp KP_ENTER     &trans
                &mo LAYER_Magic  &kp CAPSLOCK          &kp INSERT            &kp F11         &kp F12                                                                                      &kp KP_NUMBER_0    &kp KP_NUMBER_0  &kp KP_DOT       &kp KP_ENTER     &trans
                                                                                                                                &trans  &trans  &to LAYER_Base  &trans  &trans            &trans
                                                                                                                                &trans  &trans  &trans          &trans  &trans            &trans
            >;
        };

        layer_11_Magic {
            display-name = "Magic";
            bindings = <
                &trans          &none            &none             &none            &none            &none                                                                 &none  &none  &none  &bt BT_CLR  &bt BT_CLR_ALL  &trans
                &to LAYER_Base  &none            &to LAYER_Typing  &none            &none            &to LAYER_Autoshift                                                   &none  &none  &none  &none       &none           &none
                &none           &rgb_ug RGB_SPI  &rgb_ug RGB_SAI   &rgb_ug RGB_HUI  &rgb_ug RGB_BRI  &rgb_ug RGB_TOG                                                       &none  &none  &none  &none       &none           &none
                &bootloader     &rgb_ug RGB_SPD  &rgb_ug RGB_SAD   &rgb_ug RGB_HUD  &rgb_ug RGB_BRD  &rgb_ug RGB_EFF                                                       &none  &none  &none  &none       &none           &bootloader
                &sys_reset      &none            &none             &none            &none            &none                                                                 &none  &none  &none  &none       &none           &sys_reset
                &none           &none            &none             &none            &none                                                                                         &none  &none  &none       &none           &none
                                                                                                                          &bt BT_SEL 2  &bt BT_SEL 3  &none         &none  &none  &none
                                                                                                                          &bt BT_SEL 0  &bt BT_SEL 1  &out OUT_USB  &none  &none  &none
            >;
        };
    };
};

&trackball_peripheral_listener {
    override_0 {
        layers = <LAYER_MouseSlow>;
        input-processors = <&zip_xy_scaler 1 9>;
    };
    override_1 {
        layers = <LAYER_MouseFast>;
        input-processors = <&zip_xy_scaler 3 1>;
    };
    override_2 {
        layers = <LAYER_MouseWarp>;
        input-processors = <&zip_xy_scaler 12 1>;
    };
};

&trackball_central_listener {
    input-processors = <&zip_xy_scaler 1 3>, <&zip_xy_to_scroll_mapper>, <&zip_scroll_transform (INPUT_TRANSFORM_Y_INVERT)>;
    override_0 {
        layers = <LAYER_MouseSlow>;
        input-processors = <&zip_scroll_scaler 1 9>;
    };
    override_1 {
        layers = <LAYER_MouseFast>;
        input-processors = <&zip_scroll_scaler 3 1>;
    };
    override_2 {
        layers = <LAYER_MouseWarp>;
        input-processors = <&zip_scroll_scaler 12 1>;
    };
};
